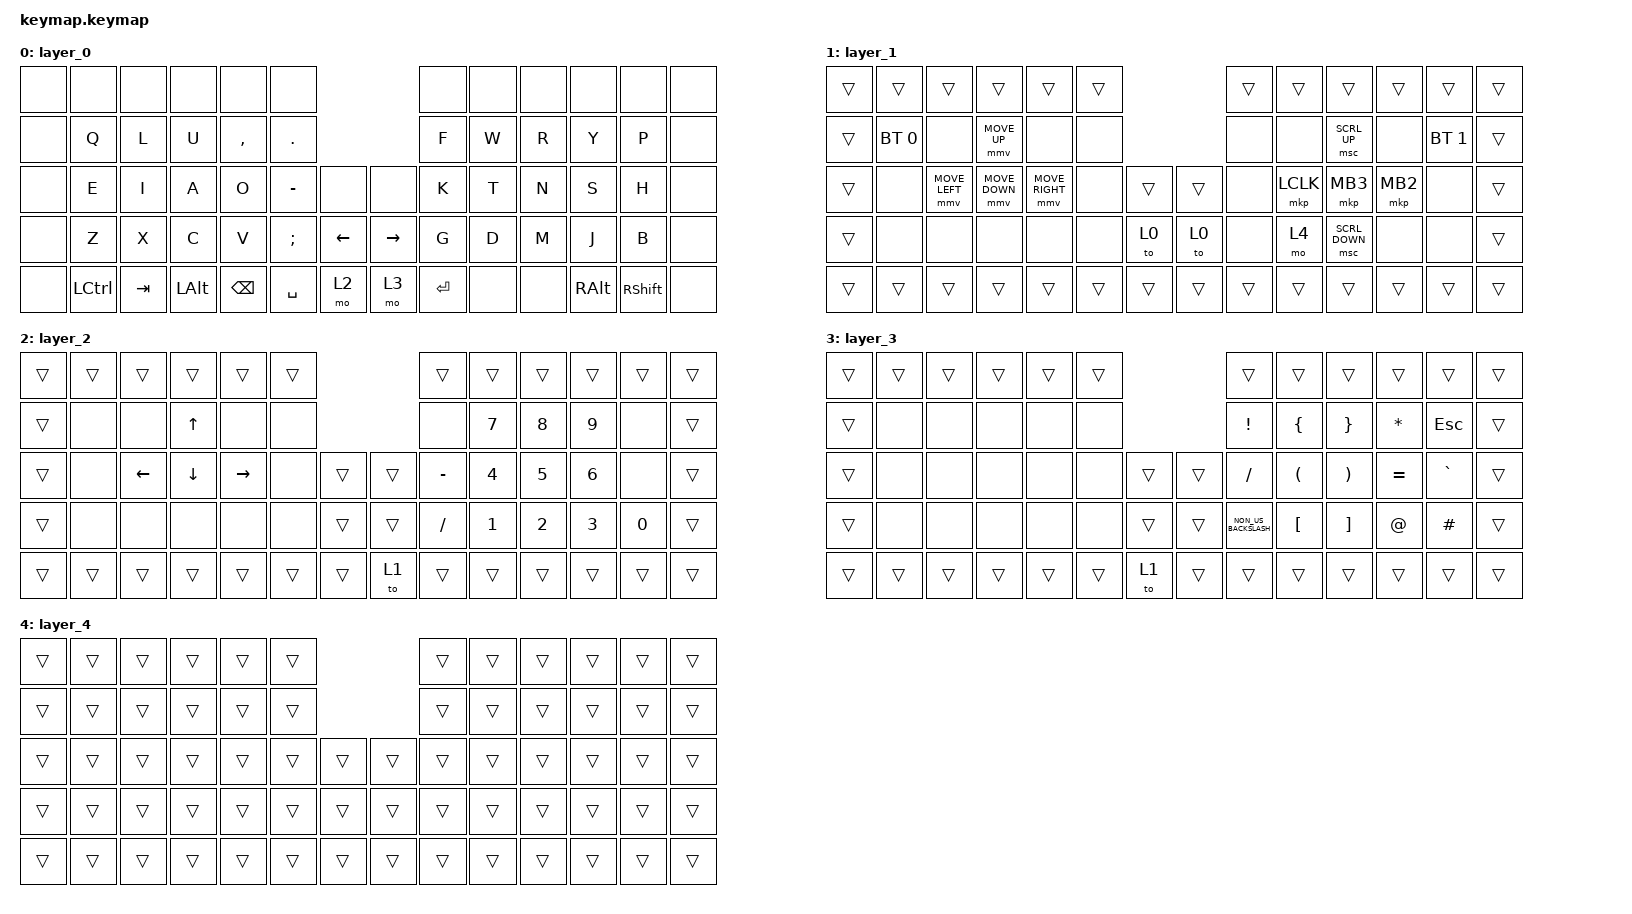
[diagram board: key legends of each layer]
#include <behaviors.dtsi>
#include <dt-bindings/zmk/bt.h>
#include <dt-bindings/zmk/keys.h>
#include <dt-bindings/zmk/pointing.h>
#include <dt-bindings/zmk/input_transform.h>
#include <input/processors.dtsi>

/*
 * Auto mouse layer (AML):
 * Moving the trackball temporarily enables layer 1 (mouse pad).
 * After 1000ms of no pointer events, layer 1 is disabled.
 *
 * Hold-to-scroll:
 * Position 47 on layer 1 (directly below &mkp LCLK) holds layer 4, where ball
 * movement is mapped to scrolling instead of cursor movement.
 *
 * Keymap body is from BrokenGyoza master (custom layout + mouse/num/symbol layers).
 *
 * Tuning:
 * - require-prior-idle-ms: ignore ball motion this soon after a keypress
 * - timeout (last arg to zip_temp_layer): AML hold after motion stops
 * - excluded-positions: mouse move/click/scroll keys that must not cancel AML
 */
&zip_temp_layer {
    require-prior-idle-ms = <350>;
    /* layer 1: MOVE_UP, SCRL_UP, MOVE_*, LCLK/MB3/MB2, scroll hold, SCRL_DOWN */
    excluded-positions = <15 20 26 27 28 33 34 35 47 48>;
};

&pointing_listener {
    input-processors = <
        &zip_xy_transform (INPUT_TRANSFORM_X_INVERT | INPUT_TRANSFORM_Y_INVERT)
        &zip_temp_layer 1 1000
    >;

    /*
     * Overrides run before the base processors. No XY invert here so hold-scroll
     * direction is the reverse of the previous (X|Y inverted) setup.
     * process-next keeps zip_temp_layer alive while scrolling.
     */
    scroller {
        layers = <4>;
        input-processors = <&zip_xy_to_scroll_mapper>;
        process-next;
    };
};

/ {
    combos {
        compatible = "zmk,combos";

        bt_clear {
            bindings = <&bt BT_CLR>;
            key-positions = <28 29>;
            layers = <2>;
        };
    };

    keymap {
        compatible = "zmk,keymap";

        layer_0 {
            bindings = <
&none  &none      &none    &none     &none      &none                                     &none      &none  &none  &none          &none            &none
&none  &kp Q      &kp L    &kp U     &kp COMMA  &kp DOT                                   &kp F      &kp W  &kp R  &kp Y          &kp P            &none
&none  &kp E      &kp I    &kp A     &kp O      &kp MINUS      &none           &none      &kp K      &kp T  &kp N  &kp S          &kp H            &none
&none  &kp Z      &kp X    &kp C     &kp V      &kp SEMICOLON  &kp LEFT_ARROW  &kp RIGHT  &kp G      &kp D  &kp M  &kp J          &kp B            &none
&none  &kp LCTRL  &kp TAB  &kp LALT  &kp BSPC   &kp SPACE      &mo 2           &mo 3      &kp ENTER  &none  &none  &kp RIGHT_ALT  &kp RIGHT_SHIFT  &none
            >;
        };

        /* Mouse layer: also auto-enabled by trackball via zip_temp_layer */
        layer_1 {
            bindings = <
&trans  &trans        &trans          &trans          &trans           &trans                  &trans  &trans     &trans          &trans    &trans        &trans
&trans  &bt BT_SEL 0  &none           &mmv MOVE_UP    &none            &none                   &none   &none      &msc SCRL_UP    &none     &bt BT_SEL 1  &trans
&trans  &none         &mmv MOVE_LEFT  &mmv MOVE_DOWN  &mmv MOVE_RIGHT  &none   &trans  &trans  &none   &mkp LCLK  &mkp MB3        &mkp MB2  &none         &trans
&trans  &none         &none           &none           &none            &none   &to 0   &to 0   &none   &mo 4      &msc SCRL_DOWN  &none     &none         &trans
&trans  &trans        &trans          &trans          &trans           &trans  &trans  &trans  &trans  &trans     &trans          &trans    &trans        &trans
            >;
        };

        layer_2 {
            bindings = <
&trans  &trans  &trans          &trans          &trans           &trans                  &trans     &trans        &trans        &trans        &trans        &trans
&trans  &none   &none           &kp UP_ARROW    &none            &none                   &none      &kp N7        &kp N8        &kp N9        &none         &trans
&trans  &none   &kp LEFT_ARROW  &kp DOWN_ARROW  &kp RIGHT_ARROW  &none   &trans  &trans  &kp MINUS  &kp NUMBER_4  &kp N5        &kp NUMBER_6  &none         &trans
&trans  &none   &none           &none           &none            &none   &trans  &trans  &kp SLASH  &kp NUMBER_1  &kp NUMBER_2  &kp NUMBER_3  &kp NUMBER_0  &trans
&trans  &trans  &trans          &trans          &trans           &trans  &trans  &to 1   &trans     &trans        &trans        &trans        &trans        &trans
            >;
        };

        layer_3 {
            bindings = <
&trans  &trans  &trans  &trans  &trans  &trans                  &trans                &trans                &trans                 &trans        &trans      &trans
&trans  &none   &none   &none   &none   &none                   &kp EXCLAMATION       &kp LEFT_BRACE        &kp RIGHT_BRACE        &kp ASTERISK  &kp ESCAPE  &trans
&trans  &none   &none   &none   &none   &none   &trans  &trans  &kp SLASH             &kp LEFT_PARENTHESIS  &kp RIGHT_PARENTHESIS  &kp EQUAL     &kp GRAVE   &trans
&trans  &none   &none   &none   &none   &none   &trans  &trans  &kp NON_US_BACKSLASH  &kp LEFT_BRACKET      &kp RIGHT_BRACKET      &kp AT_SIGN   &kp HASH    &trans
&trans  &trans  &trans  &trans  &trans  &trans  &to 1   &trans  &trans                &trans                &trans                 &trans        &trans      &trans
            >;
        };

        /* Scroll layer: held from layer 1; keys pass through while the ball scrolls */
        layer_4 {
            bindings = <
&trans  &trans  &trans  &trans  &trans  &trans                  &trans  &trans  &trans  &trans  &trans  &trans
&trans  &trans  &trans  &trans  &trans  &trans                  &trans  &trans  &trans  &trans  &trans  &trans
&trans  &trans  &trans  &trans  &trans  &trans  &trans  &trans  &trans  &trans  &trans  &trans  &trans  &trans
&trans  &trans  &trans  &trans  &trans  &trans  &trans  &trans  &trans  &trans  &trans  &trans  &trans  &trans
&trans  &trans  &trans  &trans  &trans  &trans  &trans  &trans  &trans  &trans  &trans  &trans  &trans  &trans
            >;
        };
    };
};
